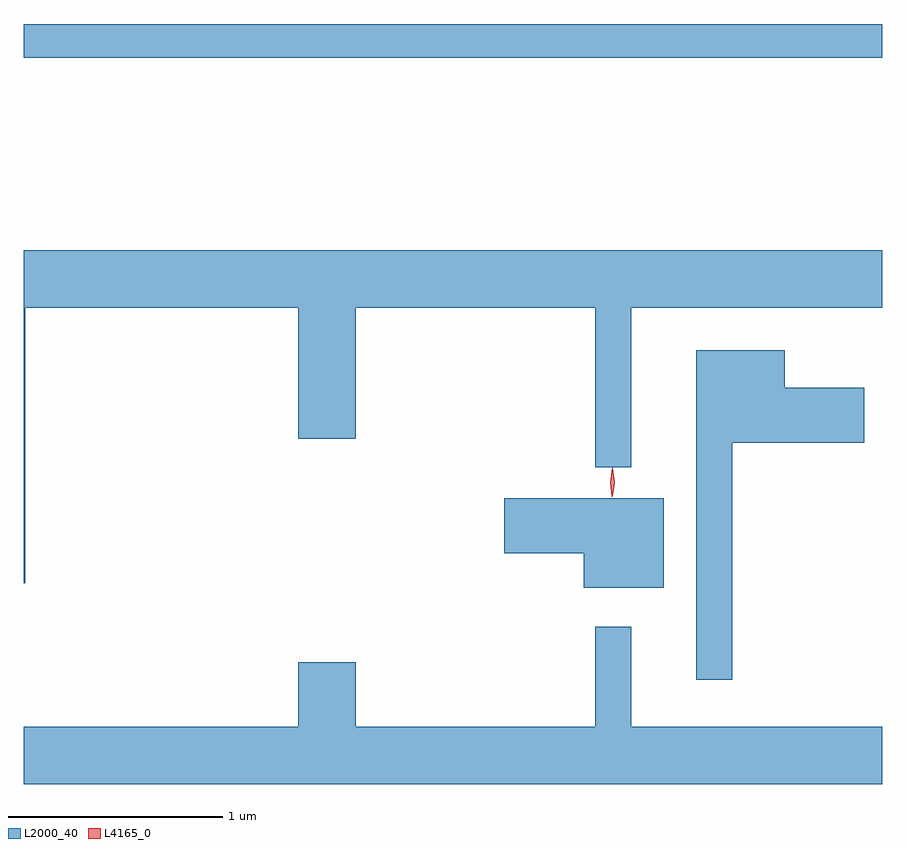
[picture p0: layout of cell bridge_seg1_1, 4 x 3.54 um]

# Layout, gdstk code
import gdstk
lib = gdstk.Library(unit=1e-6, precision=1e-09)
def R(c, l, rs):  # rectangles x0, y0, x1, y1
    for r in rs: c.add(gdstk.rectangle(r[:2], r[2:], *l))
def P(c, l, *ps):  # polygons
    for p in ps: c.add(gdstk.Polygon(p, *l))
L2000_40 = (2000, 40)
L4165_0 = (4165, 0)

bridge_seg1_1 = lib.new_cell('bridge_seg1_1')
R(bridge_seg1_1, L2000_40, [(1572.437,854.121,1576.437,854.279)])
P(bridge_seg1_1, L2000_40, [(1572.444,852.956),(1573.716,852.956),(1573.716,852.346),(1573.984,852.346),(1573.984,852.956),(1575.101,852.956),(1575.101,852.213),(1575.269,852.213),(1575.269,852.956),(1576.437,852.956),(1576.437,853.224),(1572.437,853.224),(1572.437,851.671),(1572.444,851.671)],
  [(1575.739,852.326),(1576.354,852.326),(1576.354,852.584),(1575.984,852.584),(1575.984,852.759),(1575.571,852.759),(1575.571,851.223),(1575.739,851.223)],
  [(1575.419,852.069),(1574.676,852.069),(1574.676,851.811),(1575.046,851.811),(1575.046,851.651),(1575.419,851.651)],
  [(1576.437,851.004),(1575.269,851.004),(1575.269,851.468),(1575.101,851.468),(1575.101,851.004),(1573.984,851.004),(1573.984,851.304),(1573.716,851.304),(1573.716,851.004),(1572.437,851.004),(1572.437,850.736),(1576.437,850.736)])
P(bridge_seg1_1, L4165_0, [(1575.18,852.08),(1575.18,852.08),(1575.17,852.143),(1575.18,852.206),(1575.18,852.207),(1575.181,852.206),(1575.19,852.143),(1575.181,852.08)],
  [(1575.178,852.074),(1575.17,852.142),(1575.18,852.21),(1575.18,852.21),(1575.181,852.21),(1575.189,852.142),(1575.179,852.074),(1575.179,852.074)])

lib.write_gds('bridge_seg1_1.gds')
